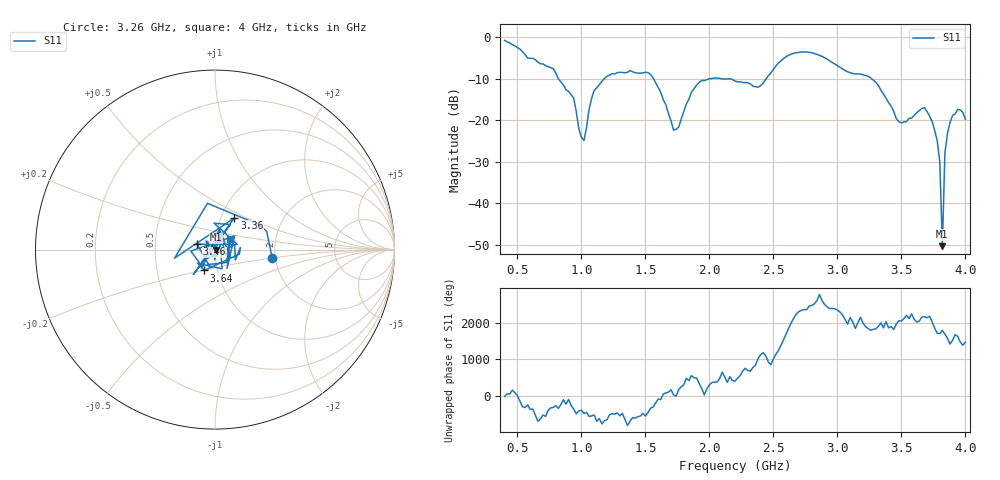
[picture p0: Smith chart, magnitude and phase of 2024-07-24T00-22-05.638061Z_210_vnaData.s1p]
!Created with skrf (http://scikit-rf.org).
# Hz S RI R 50.0
!freq ReS11 ImS11
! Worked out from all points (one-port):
!   181 points, 400 MHz to 4 GHz, reference 50 ohm
!   lowest |S11| = -50.3 dB at 3.82 GHz (marker M1), VSWR 1.01, Z = 50.3 - j0.0558 ohm
!   |S11| at or under -10 dB: 819.4 MHz to 1.178 GHz (359.1 MHz wide, 35.9 % of centre); 1.564 GHz to 2.002 GHz (438 MHz wide, 24.6 % of centre); 3.267 GHz to end of sweep (the widest 3 of 4)
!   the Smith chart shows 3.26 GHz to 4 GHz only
!   S11 on the Smith chart (normalised r, x): 3.26 GHz: 1.92, -0.20; 3.36 GHz: 1.16, +0.43; 3.46 GHz: 0.82, +0.05; 3.64 GHz: 0.86, -0.20; 4 GHz: 1.18, +0.14
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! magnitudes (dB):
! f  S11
! 400 MHz  -0.8
! 860 MHz  -11.5
! 940 MHz  -14.7
! 980 MHz  -22.1
! 1.02 GHz  -24.9
! 1.1 GHz  -12.8
! 1.3 GHz  -8.5
! 1.54 GHz  -9.0
! 1.72 GHz  -22.4
! 1.76 GHz  -21.6
! 1.92 GHz  -10.9
! 2.2 GHz  -10.5
! 2.38 GHz  -12.1
! 2.66 GHz  -3.9
! 3.1 GHz  -8.5
! 3.26 GHz  -9.8
! 3.36 GHz  -13.7
! 3.46 GHz  -19.6
! 3.56 GHz  -19.5
! 3.64 GHz  -17.7
! 3.7 GHz  -17.9
! 3.78 GHz  -25.0
! 3.8 GHz  -30.0
! 3.82 GHz  -50.3
! 3.84 GHz  -27.9
! 3.86 GHz  -23.2
! 3.94 GHz  -17.4
! 4 GHz  -19.8
